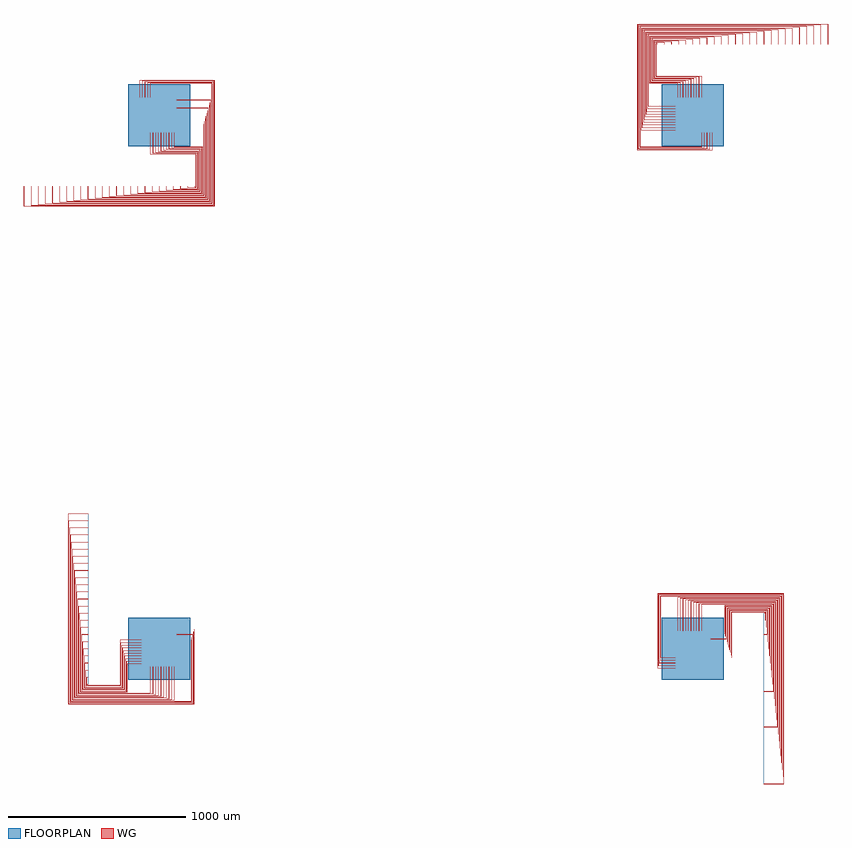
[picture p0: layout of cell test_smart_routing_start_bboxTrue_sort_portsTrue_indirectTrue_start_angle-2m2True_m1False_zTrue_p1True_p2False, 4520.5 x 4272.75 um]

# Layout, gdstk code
import gdstk
lib = gdstk.Library(unit=1e-6, precision=1e-09)
def R(c, l, rs):  # rectangles x0, y0, x1, y1
    for r in rs: c.add(gdstk.rectangle(r[:2], r[2:], *l))
def P(c, l, *ps):  # polygons
    for p in ps: c.add(gdstk.Polygon(p, *l))
WG = (1, 0)
FLOORPLAN = (10, 0)

test_smart_routing_start = lib.new_cell('test_smart_routing_start_bboxTrue_sort_portsTrue_indirectTrue_start_angle-2m2True_m1False_zTrue_p1True_p2False')
P(test_smart_routing_start, WG, [(3050.05,3100),(3050.05,3219.8),(2795.55,3219.8),(2795.55,3404.2),(2799.95,3404.2),(2799.95,3400),(2799.75,3400),(2799.75,3404),(2795.75,3404),(2795.75,3220),(3050.25,3220),(3050.25,3100)],
  [(3049.75,3100),(3049.75,3219.5),(2795.25,3219.5),(2795.25,3404.5),(2800.25,3404.5),(2800.25,3400),(2800.05,3400),(2800.05,3404.3),(2795.45,3404.3),(2795.45,3219.7),(3049.95,3219.7),(3049.95,3100)],
  [(3035.05,3100),(3035.05,3215.3),(2791.05,3215.3),(2791.05,3408.7),(2839.95,3408.7),(2839.95,3400),(2839.75,3400),(2839.75,3408.5),(2791.25,3408.5),(2791.25,3215.5),(3035.25,3215.5),(3035.25,3100)],
  [(3034.75,3100),(3034.75,3215),(2790.75,3215),(2790.75,3409),(2840.25,3409),(2840.25,3400),(2840.05,3400),(2840.05,3408.8),(2790.95,3408.8),(2790.95,3215.2),(3034.95,3215.2),(3034.95,3100)],
  [(3020.05,3100),(3020.05,3210.8),(2786.55,3210.8),(2786.55,3413.2),(2879.95,3413.2),(2879.95,3400),(2879.75,3400),(2879.75,3413),(2786.75,3413),(2786.75,3211),(3020.25,3211),(3020.25,3100)],
  [(3019.75,3100),(3019.75,3210.5),(2786.25,3210.5),(2786.25,3413.5),(2880.25,3413.5),(2880.25,3400),(2880.05,3400),(2880.05,3413.3),(2786.45,3413.3),(2786.45,3210.7),(3019.95,3210.7),(3019.95,3100)],
  [(3005.05,3100),(3005.05,3206.3),(2782.05,3206.3),(2782.05,3417.7),(2919.95,3417.7),(2919.95,3400),(2919.75,3400),(2919.75,3417.5),(2782.25,3417.5),(2782.25,3206.5),(3005.25,3206.5),(3005.25,3100)],
  [(3004.75,3100),(3004.75,3206),(2781.75,3206),(2781.75,3418),(2920.25,3418),(2920.25,3400),(2920.05,3400),(2920.05,3417.8),(2781.95,3417.8),(2781.95,3206.2),(3004.95,3206.2),(3004.95,3100)],
  [(2990.05,3100),(2990.05,3201.8),(2777.55,3201.8),(2777.55,3422.2),(2959.95,3422.2),(2959.95,3400),(2959.75,3400),(2959.75,3422),(2777.75,3422),(2777.75,3202),(2990.25,3202),(2990.25,3100)],
  [(2989.75,3100),(2989.75,3201.5),(2777.25,3201.5),(2777.25,3422.5),(2960.25,3422.5),(2960.25,3400),(2960.05,3400),(2960.05,3422.3),(2777.45,3422.3),(2777.45,3201.7),(2989.95,3201.7),(2989.95,3100)],
  [(2975.05,3100),(2975.05,3197.3),(2773.05,3197.3),(2773.05,3426.7),(2999.95,3426.7),(2999.95,3400),(2999.75,3400),(2999.75,3426.5),(2773.25,3426.5),(2773.25,3197.5),(2975.25,3197.5),(2975.25,3100)],
  [(2974.75,3100),(2974.75,3197),(2772.75,3197),(2772.75,3427),(3000.25,3427),(3000.25,3400),(3000.05,3400),(3000.05,3426.8),(2772.95,3426.8),(2772.95,3197.2),(2974.95,3197.2),(2974.95,3100)],
  [(2960.05,3100),(2960.05,3192.8),(2768.55,3192.8),(2768.55,3431.2),(3039.95,3431.2),(3039.95,3400),(3039.75,3400),(3039.75,3431),(2768.75,3431),(2768.75,3193),(2960.25,3193),(2960.25,3100)],
  [(2959.75,3100),(2959.75,3192.5),(2768.25,3192.5),(2768.25,3431.5),(3040.25,3431.5),(3040.25,3400),(3040.05,3400),(3040.05,3431.3),(2768.45,3431.3),(2768.45,3192.7),(2959.95,3192.7),(2959.95,3100)],
  [(2945.05,3100),(2945.05,3188.3),(2764.05,3188.3),(2764.05,3435.7),(3079.95,3435.7),(3079.95,3400),(3079.75,3400),(3079.75,3435.5),(2764.25,3435.5),(2764.25,3188.5),(2945.25,3188.5),(2945.25,3100)],
  [(2944.75,3100),(2944.75,3188),(2763.75,3188),(2763.75,3436),(3080.25,3436),(3080.25,3400),(3080.05,3400),(3080.05,3435.8),(2763.95,3435.8),(2763.95,3188.2),(2944.95,3188.2),(2944.95,3100)],
  [(2930.05,3100),(2930.05,3183.8),(2759.55,3183.8),(2759.55,3440.2),(3119.95,3440.2),(3119.95,3400),(3119.75,3400),(3119.75,3440),(2759.75,3440),(2759.75,3184),(2930.25,3184),(2930.25,3100)],
  [(2929.75,3100),(2929.75,3183.5),(2759.25,3183.5),(2759.25,3440.5),(3120.25,3440.5),(3120.25,3400),(3120.05,3400),(3120.05,3440.3),(2759.45,3440.3),(2759.45,3183.7),(2929.95,3183.7),(2929.95,3100)],
  [(2915.05,3100),(2915.05,3179.3),(2755.05,3179.3),(2755.05,3444.7),(3159.95,3444.7),(3159.95,3400),(3159.75,3400),(3159.75,3444.5),(2755.25,3444.5),(2755.25,3179.5),(2915.25,3179.5),(2915.25,3100)],
  [(2914.75,3100),(2914.75,3179),(2754.75,3179),(2754.75,3445),(3160.25,3445),(3160.25,3400),(3160.05,3400),(3160.05,3444.8),(2754.95,3444.8),(2754.95,3179.2),(2914.95,3179.2),(2914.95,3100)],
  [(2750.55,3050.05),(2750.55,3449.2),(3199.95,3449.2),(3199.95,3400),(3199.75,3400),(3199.75,3449),(2750.75,3449),(2750.75,3050.25),(2900,3050.25),(2900,3050.05)],
  [(2750.25,3049.75),(2750.25,3449.5),(3200.25,3449.5),(3200.25,3400),(3200.05,3400),(3200.05,3449.3),(2750.45,3449.3),(2750.45,3049.95),(2900,3049.95),(2900,3049.75)],
  [(2746.05,3035.05),(2746.05,3453.7),(3239.95,3453.7),(3239.95,3400),(3239.75,3400),(3239.75,3453.5),(2746.25,3453.5),(2746.25,3035.25),(2900,3035.25),(2900,3035.05)],
  [(2745.75,3034.75),(2745.75,3454),(3240.25,3454),(3240.25,3400),(3240.05,3400),(3240.05,3453.8),(2745.95,3453.8),(2745.95,3034.95),(2900,3034.95),(2900,3034.75)],
  [(2741.55,3020.05),(2741.55,3458.2),(3279.95,3458.2),(3279.95,3400),(3279.75,3400),(3279.75,3458),(2741.75,3458),(2741.75,3020.25),(2900,3020.25),(2900,3020.05)],
  [(2741.25,3019.75),(2741.25,3458.5),(3280.25,3458.5),(3280.25,3400),(3280.05,3400),(3280.05,3458.3),(2741.45,3458.3),(2741.45,3019.95),(2900,3019.95),(2900,3019.75)],
  [(2737.05,3005.05),(2737.05,3462.7),(3319.95,3462.7),(3319.95,3400),(3319.75,3400),(3319.75,3462.5),(2737.25,3462.5),(2737.25,3005.25),(2900,3005.25),(2900,3005.05)],
  [(2736.75,3004.75),(2736.75,3463),(3320.25,3463),(3320.25,3400),(3320.05,3400),(3320.05,3462.8),(2736.95,3462.8),(2736.95,3004.95),(2900,3004.95),(2900,3004.75)],
  [(2732.55,2990.05),(2732.55,3467.2),(3359.95,3467.2),(3359.95,3400),(3359.75,3400),(3359.75,3467),(2732.75,3467),(2732.75,2990.25),(2900,2990.25),(2900,2990.05)],
  [(2732.25,2989.75),(2732.25,3467.5),(3360.25,3467.5),(3360.25,3400),(3360.05,3400),(3360.05,3467.3),(2732.45,3467.3),(2732.45,2989.95),(2900,2989.95),(2900,2989.75)],
  [(2728.05,2975.05),(2728.05,3471.7),(3399.95,3471.7),(3399.95,3400),(3399.75,3400),(3399.75,3471.5),(2728.25,3471.5),(2728.25,2975.25),(2900,2975.25),(2900,2975.05)],
  [(2727.75,2974.75),(2727.75,3472),(3400.25,3472),(3400.25,3400),(3400.05,3400),(3400.05,3471.8),(2727.95,3471.8),(2727.95,2974.95),(2900,2974.95),(2900,2974.75)],
  [(2723.55,2960.05),(2723.55,3476.2),(3439.95,3476.2),(3439.95,3400),(3439.75,3400),(3439.75,3476),(2723.75,3476),(2723.75,2960.25),(2900,2960.25),(2900,2960.05)],
  [(2723.25,2959.75),(2723.25,3476.5),(3440.25,3476.5),(3440.25,3400),(3440.05,3400),(3440.05,3476.3),(2723.45,3476.3),(2723.45,2959.95),(2900,2959.95),(2900,2959.75)],
  [(2719.05,2945.05),(2719.05,3480.7),(3479.95,3480.7),(3479.95,3400),(3479.75,3400),(3479.75,3480.5),(2719.25,3480.5),(2719.25,2945.25),(2900,2945.25),(2900,2945.05)],
  [(2718.75,2944.75),(2718.75,3481),(3480.25,3481),(3480.25,3400),(3480.05,3400),(3480.05,3480.8),(2718.95,3480.8),(2718.95,2944.95),(2900,2944.95),(2900,2944.75)],
  [(2714.55,2930.05),(2714.55,3485.2),(3519.95,3485.2),(3519.95,3400),(3519.75,3400),(3519.75,3485),(2714.75,3485),(2714.75,2930.25),(2900,2930.25),(2900,2930.05)],
  [(2714.25,2929.75),(2714.25,3485.5),(3520.25,3485.5),(3520.25,3400),(3520.05,3400),(3520.05,3485.3),(2714.45,3485.3),(2714.45,2929.95),(2900,2929.95),(2900,2929.75)],
  [(2710.05,2915.05),(2710.05,3489.7),(3559.95,3489.7),(3559.95,3400),(3559.75,3400),(3559.75,3489.5),(2710.25,3489.5),(2710.25,2915.25),(2900,2915.25),(2900,2915.05)],
  [(2709.75,2914.75),(2709.75,3490),(3560.25,3490),(3560.25,3400),(3560.05,3400),(3560.05,3489.8),(2709.95,3489.8),(2709.95,2914.95),(2900,2914.95),(2900,2914.75)],
  [(2705.55,2820.8),(2705.55,3494.2),(3599.95,3494.2),(3599.95,3400),(3599.75,3400),(3599.75,3494),(2705.75,3494),(2705.75,2821),(3049.75,2821),(3049.75,2900),(3049.95,2900),(3049.95,2820.8)],
  [(2705.25,2820.5),(2705.25,3494.5),(3600.25,3494.5),(3600.25,3400),(3600.05,3400),(3600.05,3494.3),(2705.45,3494.3),(2705.45,2820.7),(3050.05,2820.7),(3050.05,2900),(3050.25,2900),(3050.25,2820.5)],
  [(2701.05,2816.3),(2701.05,3498.7),(3639.95,3498.7),(3639.95,3400),(3639.75,3400),(3639.75,3498.5),(2701.25,3498.5),(2701.25,2816.5),(3064.75,2816.5),(3064.75,2900),(3064.95,2900),(3064.95,2816.3)],
  [(2700.75,2816),(2700.75,3499),(3640.25,3499),(3640.25,3400),(3640.05,3400),(3640.05,3498.8),(2700.95,3498.8),(2700.95,2816.2),(3065.05,2816.2),(3065.05,2900),(3065.25,2900),(3065.25,2816)],
  [(2696.55,2811.8),(2696.55,3503.2),(3679.95,3503.2),(3679.95,3400),(3679.75,3400),(3679.75,3503),(2696.75,3503),(2696.75,2812),(3079.75,2812),(3079.75,2900),(3079.95,2900),(3079.95,2811.8)],
  [(2696.25,2811.5),(2696.25,3503.5),(3680.25,3503.5),(3680.25,3400),(3680.05,3400),(3680.05,3503.3),(2696.45,3503.3),(2696.45,2811.7),(3080.05,2811.7),(3080.05,2900),(3080.25,2900),(3080.25,2811.5)],
  [(2692.05,2807.3),(2692.05,3507.7),(3719.95,3507.7),(3719.95,3400),(3719.75,3400),(3719.75,3507.5),(2692.25,3507.5),(2692.25,2807.5),(3094.75,2807.5),(3094.75,2900),(3094.95,2900),(3094.95,2807.3)],
  [(2691.75,2807),(2691.75,3508),(3720.25,3508),(3720.25,3400),(3720.05,3400),(3720.05,3507.8),(2691.95,3507.8),(2691.95,2807.2),(3095.05,2807.2),(3095.05,2900),(3095.25,2900),(3095.25,2807)],
  [(2687.55,2802.8),(2687.55,3512.2),(3759.95,3512.2),(3759.95,3400),(3759.75,3400),(3759.75,3512),(2687.75,3512),(2687.75,2803),(3109.75,2803),(3109.75,2900),(3109.95,2900),(3109.95,2802.8)],
  [(2687.25,2802.5),(2687.25,3512.5),(3760.25,3512.5),(3760.25,3400),(3760.05,3400),(3760.05,3512.3),(2687.45,3512.3),(2687.45,2802.7),(3110.05,2802.7),(3110.05,2900),(3110.25,2900),(3110.25,2802.5)],
  [(200.05,2595.8),(200.05,2600),(200.25,2600),(200.25,2596),(204.25,2596),(204.25,2780),(-50.25,2780),(-50.25,2900),(-50.05,2900),(-50.05,2780.2),(204.45,2780.2),(204.45,2595.8)],
  [(199.75,2595.5),(199.75,2600),(199.95,2600),(199.95,2595.7),(204.55,2595.7),(204.55,2780.3),(-49.95,2780.3),(-49.95,2900),(-49.75,2900),(-49.75,2780.5),(204.75,2780.5),(204.75,2595.5)],
  [(160.05,2591.3),(160.05,2600),(160.25,2600),(160.25,2591.5),(208.75,2591.5),(208.75,2784.5),(-35.25,2784.5),(-35.25,2900),(-35.05,2900),(-35.05,2784.7),(208.95,2784.7),(208.95,2591.3)],
  [(159.75,2591),(159.75,2600),(159.95,2600),(159.95,2591.2),(209.05,2591.2),(209.05,2784.8),(-34.95,2784.8),(-34.95,2900),(-34.75,2900),(-34.75,2785),(209.25,2785),(209.25,2591)],
  [(120.05,2586.8),(120.05,2600),(120.25,2600),(120.25,2587),(213.25,2587),(213.25,2789),(-20.25,2789),(-20.25,2900),(-20.05,2900),(-20.05,2789.2),(213.45,2789.2),(213.45,2586.8)],
  [(119.75,2586.5),(119.75,2600),(119.95,2600),(119.95,2586.7),(213.55,2586.7),(213.55,2789.3),(-19.95,2789.3),(-19.95,2900),(-19.75,2900),(-19.75,2789.5),(213.75,2789.5),(213.75,2586.5)],
  [(80.05,2582.3),(80.05,2600),(80.25,2600),(80.25,2582.5),(217.75,2582.5),(217.75,2793.5),(-5.25,2793.5),(-5.25,2900),(-5.05,2900),(-5.05,2793.7),(217.95,2793.7),(217.95,2582.3)],
  [(79.75,2582),(79.75,2600),(79.95,2600),(79.95,2582.2),(218.05,2582.2),(218.05,2793.8),(-4.95,2793.8),(-4.95,2900),(-4.75,2900),(-4.75,2794),(218.25,2794),(218.25,2582)],
  [(40.05,2577.8),(40.05,2600),(40.25,2600),(40.25,2578),(222.25,2578),(222.25,2798),(9.75,2798),(9.75,2900),(9.95,2900),(9.95,2798.2),(222.45,2798.2),(222.45,2577.8)],
  [(39.75,2577.5),(39.75,2600),(39.95,2600),(39.95,2577.7),(222.55,2577.7),(222.55,2798.3),(10.05,2798.3),(10.05,2900),(10.25,2900),(10.25,2798.5),(222.75,2798.5),(222.75,2577.5)],
  [(0.05,2573.3),(0.05,2600),(0.25,2600),(0.25,2573.5),(226.75,2573.5),(226.75,2802.5),(24.75,2802.5),(24.75,2900),(24.95,2900),(24.95,2802.7),(226.95,2802.7),(226.95,2573.3)],
  [(-0.25,2573),(-0.25,2600),(-0.05,2600),(-0.05,2573.2),(227.05,2573.2),(227.05,2802.8),(25.05,2802.8),(25.05,2900),(25.25,2900),(25.25,2803),(227.25,2803),(227.25,2573)],
  [(-39.95,2568.8),(-39.95,2600),(-39.75,2600),(-39.75,2569),(231.25,2569),(231.25,2807),(39.75,2807),(39.75,2900),(39.95,2900),(39.95,2807.2),(231.45,2807.2),(231.45,2568.8)],
  [(-40.25,2568.5),(-40.25,2600),(-40.05,2600),(-40.05,2568.7),(231.55,2568.7),(231.55,2807.3),(40.05,2807.3),(40.05,2900),(40.25,2900),(40.25,2807.5),(231.75,2807.5),(231.75,2568.5)],
  [(-79.95,2564.3),(-79.95,2600),(-79.75,2600),(-79.75,2564.5),(235.75,2564.5),(235.75,2811.5),(54.75,2811.5),(54.75,2900),(54.95,2900),(54.95,2811.7),(235.95,2811.7),(235.95,2564.3)],
  [(-80.25,2564),(-80.25,2600),(-80.05,2600),(-80.05,2564.2),(236.05,2564.2),(236.05,2811.8),(55.05,2811.8),(55.05,2900),(55.25,2900),(55.25,2812),(236.25,2812),(236.25,2564)],
  [(-119.95,2559.8),(-119.95,2600),(-119.75,2600),(-119.75,2560),(240.25,2560),(240.25,2816),(69.75,2816),(69.75,2900),(69.95,2900),(69.95,2816.2),(240.45,2816.2),(240.45,2559.8)],
  [(-120.25,2559.5),(-120.25,2600),(-120.05,2600),(-120.05,2559.7),(240.55,2559.7),(240.55,2816.3),(70.05,2816.3),(70.05,2900),(70.25,2900),(70.25,2816.5),(240.75,2816.5),(240.75,2559.5)],
  [(-159.95,2555.3),(-159.95,2600),(-159.75,2600),(-159.75,2555.5),(244.75,2555.5),(244.75,2820.5),(84.75,2820.5),(84.75,2900),(84.95,2900),(84.95,2820.7),(244.95,2820.7),(244.95,2555.3)],
  [(-160.25,2555),(-160.25,2600),(-160.05,2600),(-160.05,2555.2),(245.05,2555.2),(245.05,2820.8),(85.05,2820.8),(85.05,2900),(85.25,2900),(85.25,2821),(245.25,2821),(245.25,2555)],
  [(-199.95,2550.8),(-199.95,2600),(-199.75,2600),(-199.75,2551),(249.25,2551),(249.25,2949.75),(100,2949.75),(100,2949.95),(249.45,2949.95),(249.45,2550.8)],
  [(-200.25,2550.5),(-200.25,2600),(-200.05,2600),(-200.05,2550.7),(249.55,2550.7),(249.55,2950.05),(100,2950.05),(100,2950.25),(249.75,2950.25),(249.75,2550.5)],
  [(-239.95,2546.3),(-239.95,2600),(-239.75,2600),(-239.75,2546.5),(253.75,2546.5),(253.75,2964.75),(100,2964.75),(100,2964.95),(253.95,2964.95),(253.95,2546.3)],
  [(-240.25,2546),(-240.25,2600),(-240.05,2600),(-240.05,2546.2),(254.05,2546.2),(254.05,2965.05),(100,2965.05),(100,2965.25),(254.25,2965.25),(254.25,2546)],
  [(-279.95,2541.8),(-279.95,2600),(-279.75,2600),(-279.75,2542),(258.25,2542),(258.25,2979.75),(100,2979.75),(100,2979.95),(258.45,2979.95),(258.45,2541.8)],
  [(-280.25,2541.5),(-280.25,2600),(-280.05,2600),(-280.05,2541.7),(258.55,2541.7),(258.55,2980.05),(100,2980.05),(100,2980.25),(258.75,2980.25),(258.75,2541.5)],
  [(-319.95,2537.3),(-319.95,2600),(-319.75,2600),(-319.75,2537.5),(262.75,2537.5),(262.75,2994.75),(100,2994.75),(100,2994.95),(262.95,2994.95),(262.95,2537.3)],
  [(-320.25,2537),(-320.25,2600),(-320.05,2600),(-320.05,2537.2),(263.05,2537.2),(263.05,2995.05),(100,2995.05),(100,2995.25),(263.25,2995.25),(263.25,2537)],
  [(-359.95,2532.8),(-359.95,2600),(-359.75,2600),(-359.75,2533),(267.25,2533),(267.25,3009.75),(100,3009.75),(100,3009.95),(267.45,3009.95),(267.45,2532.8)],
  [(-360.25,2532.5),(-360.25,2600),(-360.05,2600),(-360.05,2532.7),(267.55,2532.7),(267.55,3010.05),(100,3010.05),(100,3010.25),(267.75,3010.25),(267.75,2532.5)],
  [(-399.95,2528.3),(-399.95,2600),(-399.75,2600),(-399.75,2528.5),(271.75,2528.5),(271.75,3024.75),(100,3024.75),(100,3024.95),(271.95,3024.95),(271.95,2528.3)],
  [(-400.25,2528),(-400.25,2600),(-400.05,2600),(-400.05,2528.2),(272.05,2528.2),(272.05,3025.05),(100,3025.05),(100,3025.25),(272.25,3025.25),(272.25,2528)],
  [(-439.95,2523.8),(-439.95,2600),(-439.75,2600),(-439.75,2524),(276.25,2524),(276.25,3039.75),(100,3039.75),(100,3039.95),(276.45,3039.95),(276.45,2523.8)],
  [(-440.25,2523.5),(-440.25,2600),(-440.05,2600),(-440.05,2523.7),(276.55,2523.7),(276.55,3040.05),(100,3040.05),(100,3040.25),(276.75,3040.25),(276.75,2523.5)],
  [(-479.95,2519.3),(-479.95,2600),(-479.75,2600),(-479.75,2519.5),(280.75,2519.5),(280.75,3054.75),(100,3054.75),(100,3054.95),(280.95,3054.95),(280.95,2519.3)],
  [(-480.25,2519),(-480.25,2600),(-480.05,2600),(-480.05,2519.2),(281.05,2519.2),(281.05,3055.05),(100,3055.05),(100,3055.25),(281.25,3055.25),(281.25,2519)],
  [(-519.95,2514.8),(-519.95,2600),(-519.75,2600),(-519.75,2515),(285.25,2515),(285.25,3069.75),(100,3069.75),(100,3069.95),(285.45,3069.95),(285.45,2514.8)],
  [(-520.25,2514.5),(-520.25,2600),(-520.05,2600),(-520.05,2514.7),(285.55,2514.7),(285.55,3070.05),(100,3070.05),(100,3070.25),(285.75,3070.25),(285.75,2514.5)],
  [(-559.95,2510.3),(-559.95,2600),(-559.75,2600),(-559.75,2510.5),(289.75,2510.5),(289.75,3084.75),(100,3084.75),(100,3084.95),(289.95,3084.95),(289.95,2510.3)],
  [(-560.25,2510),(-560.25,2600),(-560.05,2600),(-560.05,2510.2),(290.05,2510.2),(290.05,3085.05),(100,3085.05),(100,3085.25),(290.25,3085.25),(290.25,2510)],
  [(-599.95,2505.8),(-599.95,2600),(-599.75,2600),(-599.75,2506),(294.25,2506),(294.25,3179),(-49.75,3179),(-49.75,3100),(-49.95,3100),(-49.95,3179.2),(294.45,3179.2),(294.45,2505.8)],
  [(-600.25,2505.5),(-600.25,2600),(-600.05,2600),(-600.05,2505.7),(294.55,2505.7),(294.55,3179.3),(-50.05,3179.3),(-50.05,3100),(-50.25,3100),(-50.25,3179.5),(294.75,3179.5),(294.75,2505.5)],
  [(-639.95,2501.3),(-639.95,2600),(-639.75,2600),(-639.75,2501.5),(298.75,2501.5),(298.75,3183.5),(-64.75,3183.5),(-64.75,3100),(-64.95,3100),(-64.95,3183.7),(298.95,3183.7),(298.95,2501.3)],
  [(-640.25,2501),(-640.25,2600),(-640.05,2600),(-640.05,2501.2),(299.05,2501.2),(299.05,3183.8),(-65.05,3183.8),(-65.05,3100),(-65.25,3100),(-65.25,3184),(299.25,3184),(299.25,2501)],
  [(-679.95,2496.8),(-679.95,2600),(-679.75,2600),(-679.75,2497),(303.25,2497),(303.25,3188),(-79.75,3188),(-79.75,3100),(-79.95,3100),(-79.95,3188.2),(303.45,3188.2),(303.45,2496.8)],
  [(-680.25,2496.5),(-680.25,2600),(-680.05,2600),(-680.05,2496.7),(303.55,2496.7),(303.55,3188.3),(-80.05,3188.3),(-80.05,3100),(-80.25,3100),(-80.25,3188.5),(303.75,3188.5),(303.75,2496.5)],
  [(-719.95,2492.3),(-719.95,2600),(-719.75,2600),(-719.75,2492.5),(307.75,2492.5),(307.75,3192.5),(-94.75,3192.5),(-94.75,3100),(-94.95,3100),(-94.95,3192.7),(307.95,3192.7),(307.95,2492.3)],
  [(-720.25,2492),(-720.25,2600),(-720.05,2600),(-720.05,2492.2),(308.05,2492.2),(308.05,3192.8),(-95.05,3192.8),(-95.05,3100),(-95.25,3100),(-95.25,3193),(308.25,3193),(308.25,2492)],
  [(-759.95,2487.8),(-759.95,2600),(-759.75,2600),(-759.75,2488),(312.25,2488),(312.25,3197),(-109.75,3197),(-109.75,3100),(-109.95,3100),(-109.95,3197.2),(312.45,3197.2),(312.45,2487.8)],
  [(-760.25,2487.5),(-760.25,2600),(-760.05,2600),(-760.05,2487.7),(312.55,2487.7),(312.55,3197.3),(-110.05,3197.3),(-110.05,3100),(-110.25,3100),(-110.25,3197.5),(312.75,3197.5),(312.75,2487.5)],
  [(-404.5,-204.75),(-404.5,-199.75),(-400,-199.75),(-400,-199.95),(-404.3,-199.95),(-404.3,-204.55),(-219.7,-204.55),(-219.7,49.95),(-100,49.95),(-100,49.75),(-219.5,49.75),(-219.5,-204.75)],
  [(-404.2,-204.45),(-404.2,-200.05),(-400,-200.05),(-400,-200.25),(-404,-200.25),(-404,-204.25),(-220,-204.25),(-220,50.25),(-100,50.25),(-100,50.05),(-219.8,50.05),(-219.8,-204.45)],
  [(-409,-209.25),(-409,-159.75),(-400,-159.75),(-400,-159.95),(-408.8,-159.95),(-408.8,-209.05),(-215.2,-209.05),(-215.2,34.95),(-100,34.95),(-100,34.75),(-215,34.75),(-215,-209.25)],
  [(-408.7,-208.95),(-408.7,-160.05),(-400,-160.05),(-400,-160.25),(-408.5,-160.25),(-408.5,-208.75),(-215.5,-208.75),(-215.5,35.25),(-100,35.25),(-100,35.05),(-215.3,35.05),(-215.3,-208.95)],
  [(-413.5,-213.75),(-413.5,-119.75),(-400,-119.75),(-400,-119.95),(-413.3,-119.95),(-413.3,-213.55),(-210.7,-213.55),(-210.7,19.95),(-100,19.95),(-100,19.75),(-210.5,19.75),(-210.5,-213.75)],
  [(-413.2,-213.45),(-413.2,-120.05),(-400,-120.05),(-400,-120.25),(-413,-120.25),(-413,-213.25),(-211,-213.25),(-211,20.25),(-100,20.25),(-100,20.05),(-210.8,20.05),(-210.8,-213.45)],
  [(-418,-218.25),(-418,-79.75),(-400,-79.75),(-400,-79.95),(-417.8,-79.95),(-417.8,-218.05),(-206.2,-218.05),(-206.2,4.95),(-100,4.95),(-100,4.75),(-206,4.75),(-206,-218.25)],
  [(-417.7,-217.95),(-417.7,-80.05),(-400,-80.05),(-400,-80.25),(-417.5,-80.25),(-417.5,-217.75),(-206.5,-217.75),(-206.5,5.25),(-100,5.25),(-100,5.05),(-206.3,5.05),(-206.3,-217.95)],
  [(-422.5,-222.75),(-422.5,-39.75),(-400,-39.75),(-400,-39.95),(-422.3,-39.95),(-422.3,-222.55),(-201.7,-222.55),(-201.7,-10.05),(-100,-10.05),(-100,-10.25),(-201.5,-10.25),(-201.5,-222.75)],
  [(-422.2,-222.45),(-422.2,-40.05),(-400,-40.05),(-400,-40.25),(-422,-40.25),(-422,-222.25),(-202,-222.25),(-202,-9.75),(-100,-9.75),(-100,-9.95),(-201.8,-9.95),(-201.8,-222.45)],
  [(-426.7,-226.95),(-426.7,-0.05),(-400,-0.05),(-400,-0.25),(-426.5,-0.25),(-426.5,-226.75),(-197.5,-226.75),(-197.5,-24.75),(-100,-24.75),(-100,-24.95),(-197.3,-24.95),(-197.3,-226.95)],
  [(-427,-227.25),(-427,0.25),(-400,0.25),(-400,0.05),(-426.8,0.05),(-426.8,-227.05),(-197.2,-227.05),(-197.2,-25.05),(-100,-25.05),(-100,-25.25),(-197,-25.25),(-197,-227.25)],
  [(-431.2,-231.45),(-431.2,39.95),(-400,39.95),(-400,39.75),(-431,39.75),(-431,-231.25),(-193,-231.25),(-193,-39.75),(-100,-39.75),(-100,-39.95),(-192.8,-39.95),(-192.8,-231.45)],
  [(-431.5,-231.75),(-431.5,40.25),(-400,40.25),(-400,40.05),(-431.3,40.05),(-431.3,-231.55),(-192.7,-231.55),(-192.7,-40.05),(-100,-40.05),(-100,-40.25),(-192.5,-40.25),(-192.5,-231.75)],
  [(-435.7,-235.95),(-435.7,79.95),(-400,79.95),(-400,79.75),(-435.5,79.75),(-435.5,-235.75),(-188.5,-235.75),(-188.5,-54.75),(-100,-54.75),(-100,-54.95),(-188.3,-54.95),(-188.3,-235.95)],
  [(-436,-236.25),(-436,80.25),(-400,80.25),(-400,80.05),(-435.8,80.05),(-435.8,-236.05),(-188.2,-236.05),(-188.2,-55.05),(-100,-55.05),(-100,-55.25),(-188,-55.25),(-188,-236.25)],
  [(-440.2,-240.45),(-440.2,119.95),(-400,119.95),(-400,119.75),(-440,119.75),(-440,-240.25),(-184,-240.25),(-184,-69.75),(-100,-69.75),(-100,-69.95),(-183.8,-69.95),(-183.8,-240.45)],
  [(-440.5,-240.75),(-440.5,120.25),(-400,120.25),(-400,120.05),(-440.3,120.05),(-440.3,-240.55),(-183.7,-240.55),(-183.7,-70.05),(-100,-70.05),(-100,-70.25),(-183.5,-70.25),(-183.5,-240.75)],
  [(-444.7,-244.95),(-444.7,159.95),(-400,159.95),(-400,159.75),(-444.5,159.75),(-444.5,-244.75),(-179.5,-244.75),(-179.5,-84.75),(-100,-84.75),(-100,-84.95),(-179.3,-84.95),(-179.3,-244.95)],
  [(-445,-245.25),(-445,160.25),(-400,160.25),(-400,160.05),(-444.8,160.05),(-444.8,-245.05),(-179.2,-245.05),(-179.2,-85.05),(-100,-85.05),(-100,-85.25),(-179,-85.25),(-179,-245.25)],
  [(-449.2,-249.45),(-449.2,199.95),(-400,199.95),(-400,199.75),(-449,199.75),(-449,-249.25),(-50.25,-249.25),(-50.25,-100),(-50.05,-100),(-50.05,-249.45)],
  [(-449.5,-249.75),(-449.5,200.25),(-400,200.25),(-400,200.05),(-449.3,200.05),(-449.3,-249.55),(-49.95,-249.55),(-49.95,-100),(-49.75,-100),(-49.75,-249.75)],
  [(-453.7,-253.95),(-453.7,239.95),(-400,239.95),(-400,239.75),(-453.5,239.75),(-453.5,-253.75),(-35.25,-253.75),(-35.25,-100),(-35.05,-100),(-35.05,-253.95)],
  [(-454,-254.25),(-454,240.25),(-400,240.25),(-400,240.05),(-453.8,240.05),(-453.8,-254.05),(-34.95,-254.05),(-34.95,-100),(-34.75,-100),(-34.75,-254.25)],
  [(-458.2,-258.45),(-458.2,279.95),(-400,279.95),(-400,279.75),(-458,279.75),(-458,-258.25),(-20.25,-258.25),(-20.25,-100),(-20.05,-100),(-20.05,-258.45)],
  [(-458.5,-258.75),(-458.5,280.25),(-400,280.25),(-400,280.05),(-458.3,280.05),(-458.3,-258.55),(-19.95,-258.55),(-19.95,-100),(-19.75,-100),(-19.75,-258.75)],
  [(-462.7,-262.95),(-462.7,319.95),(-400,319.95),(-400,319.75),(-462.5,319.75),(-462.5,-262.75),(-5.25,-262.75),(-5.25,-100),(-5.05,-100),(-5.05,-262.95)],
  [(-463,-263.25),(-463,320.25),(-400,320.25),(-400,320.05),(-462.8,320.05),(-462.8,-263.05),(-4.95,-263.05),(-4.95,-100),(-4.75,-100),(-4.75,-263.25)],
  [(-467.2,-267.45),(-467.2,359.95),(-400,359.95),(-400,359.75),(-467,359.75),(-467,-267.25),(9.75,-267.25),(9.75,-100),(9.95,-100),(9.95,-267.45)],
  [(-467.5,-267.75),(-467.5,360.25),(-400,360.25),(-400,360.05),(-467.3,360.05),(-467.3,-267.55),(10.05,-267.55),(10.05,-100),(10.25,-100),(10.25,-267.75)],
  [(-471.7,-271.95),(-471.7,399.95),(-400,399.95),(-400,399.75),(-471.5,399.75),(-471.5,-271.75),(24.75,-271.75),(24.75,-100),(24.95,-100),(24.95,-271.95)],
  [(-472,-272.25),(-472,400.25),(-400,400.25),(-400,400.05),(-471.8,400.05),(-471.8,-272.05),(25.05,-272.05),(25.05,-100),(25.25,-100),(25.25,-272.25)],
  [(-476.2,-276.45),(-476.2,439.95),(-400,439.95),(-400,439.75),(-476,439.75),(-476,-276.25),(39.75,-276.25),(39.75,-100),(39.95,-100),(39.95,-276.45)],
  [(-476.5,-276.75),(-476.5,440.25),(-400,440.25),(-400,440.05),(-476.3,440.05),(-476.3,-276.55),(40.05,-276.55),(40.05,-100),(40.25,-100),(40.25,-276.75)],
  [(-480.7,-280.95),(-480.7,479.95),(-400,479.95),(-400,479.75),(-480.5,479.75),(-480.5,-280.75),(54.75,-280.75),(54.75,-100),(54.95,-100),(54.95,-280.95)],
  [(-481,-281.25),(-481,480.25),(-400,480.25),(-400,480.05),(-480.8,480.05),(-480.8,-281.05),(55.05,-281.05),(55.05,-100),(55.25,-100),(55.25,-281.25)],
  [(-485.2,-285.45),(-485.2,519.95),(-400,519.95),(-400,519.75),(-485,519.75),(-485,-285.25),(69.75,-285.25),(69.75,-100),(69.95,-100),(69.95,-285.45)],
  [(-485.5,-285.75),(-485.5,520.25),(-400,520.25),(-400,520.05),(-485.3,520.05),(-485.3,-285.55),(70.05,-285.55),(70.05,-100),(70.25,-100),(70.25,-285.75)],
  [(-489.7,-289.95),(-489.7,559.95),(-400,559.95),(-400,559.75),(-489.5,559.75),(-489.5,-289.75),(84.75,-289.75),(84.75,-100),(84.95,-100),(84.95,-289.95)],
  [(-490,-290.25),(-490,560.25),(-400,560.25),(-400,560.05),(-489.8,560.05),(-489.8,-290.05),(85.05,-290.05),(85.05,-100),(85.25,-100),(85.25,-290.25)],
  [(-494.2,-294.45),(-494.2,599.95),(-400,599.95),(-400,599.75),(-494,599.75),(-494,-294.25),(179,-294.25),(179,49.75),(100,49.75),(100,49.95),(179.2,49.95),(179.2,-294.45)],
  [(-494.5,-294.75),(-494.5,600.25),(-400,600.25),(-400,600.05),(-494.3,600.05),(-494.3,-294.55),(179.3,-294.55),(179.3,50.05),(100,50.05),(100,50.25),(179.5,50.25),(179.5,-294.75)],
  [(-498.7,-298.95),(-498.7,639.95),(-400,639.95),(-400,639.75),(-498.5,639.75),(-498.5,-298.75),(183.5,-298.75),(183.5,64.75),(100,64.75),(100,64.95),(183.7,64.95),(183.7,-298.95)],
  [(-499,-299.25),(-499,640.25),(-400,640.25),(-400,640.05),(-498.8,640.05),(-498.8,-299.05),(183.8,-299.05),(183.8,65.05),(100,65.05),(100,65.25),(184,65.25),(184,-299.25)],
  [(-503.2,-303.45),(-503.2,679.95),(-400,679.95),(-400,679.75),(-503,679.75),(-503,-303.25),(188,-303.25),(188,79.75),(100,79.75),(100,79.95),(188.2,79.95),(188.2,-303.45)],
  [(-503.5,-303.75),(-503.5,680.25),(-400,680.25),(-400,680.05),(-503.3,680.05),(-503.3,-303.55),(188.3,-303.55),(188.3,80.05),(100,80.05),(100,80.25),(188.5,80.25),(188.5,-303.75)],
  [(-507.7,-307.95),(-507.7,719.95),(-400,719.95),(-400,719.75),(-507.5,719.75),(-507.5,-307.75),(192.5,-307.75),(192.5,94.75),(100,94.75),(100,94.95),(192.7,94.95),(192.7,-307.95)],
  [(-508,-308.25),(-508,720.25),(-400,720.25),(-400,720.05),(-507.8,720.05),(-507.8,-308.05),(192.8,-308.05),(192.8,95.05),(100,95.05),(100,95.25),(193,95.25),(193,-308.25)],
  [(-512.2,-312.45),(-512.2,759.95),(-400,759.95),(-400,759.75),(-512,759.75),(-512,-312.25),(197,-312.25),(197,109.75),(100,109.75),(100,109.95),(197.2,109.95),(197.2,-312.45)],
  [(-512.5,-312.75),(-512.5,760.25),(-400,760.25),(-400,760.05),(-512.3,760.05),(-512.3,-312.55),(197.3,-312.55),(197.3,110.05),(100,110.05),(100,110.25),(197.5,110.25),(197.5,-312.75)],
  [(3100,-50.25),(3100,-50.05),(3219.8,-50.05),(3219.8,204.45),(3404.2,204.45),(3404.2,200.05),(3400,200.05),(3400,200.25),(3404,200.25),(3404,204.25),(3220,204.25),(3220,-50.25)],
  [(3100,-49.95),(3100,-49.75),(3219.5,-49.75),(3219.5,204.75),(3404.5,204.75),(3404.5,199.75),(3400,199.75),(3400,199.95),(3404.3,199.95),(3404.3,204.55),(3219.7,204.55),(3219.7,-49.95)],
  [(3100,-35.25),(3100,-35.05),(3215.3,-35.05),(3215.3,208.95),(3408.7,208.95),(3408.7,160.05),(3400,160.05),(3400,160.25),(3408.5,160.25),(3408.5,208.75),(3215.5,208.75),(3215.5,-35.25)],
  [(3100,-34.95),(3100,-34.75),(3215,-34.75),(3215,209.25),(3409,209.25),(3409,159.75),(3400,159.75),(3400,159.95),(3408.8,159.95),(3408.8,209.05),(3215.2,209.05),(3215.2,-34.95)],
  [(3100,-20.25),(3100,-20.05),(3210.8,-20.05),(3210.8,213.45),(3413.2,213.45),(3413.2,120.05),(3400,120.05),(3400,120.25),(3413,120.25),(3413,213.25),(3211,213.25),(3211,-20.25)],
  [(3100,-19.95),(3100,-19.75),(3210.5,-19.75),(3210.5,213.75),(3413.5,213.75),(3413.5,119.75),(3400,119.75),(3400,119.95),(3413.3,119.95),(3413.3,213.55),(3210.7,213.55),(3210.7,-19.95)],
  [(3100,-5.25),(3100,-5.05),(3206.3,-5.05),(3206.3,217.95),(3417.7,217.95),(3417.7,80.05),(3400,80.05),(3400,80.25),(3417.5,80.25),(3417.5,217.75),(3206.5,217.75),(3206.5,-5.25)],
  [(3100,-4.95),(3100,-4.75),(3206,-4.75),(3206,218.25),(3418,218.25),(3418,79.75),(3400,79.75),(3400,79.95),(3417.8,79.95),(3417.8,218.05),(3206.2,218.05),(3206.2,-4.95)],
  [(3100,9.75),(3100,9.95),(3201.8,9.95),(3201.8,222.45),(3422.2,222.45),(3422.2,40.05),(3400,40.05),(3400,40.25),(3422,40.25),(3422,222.25),(3202,222.25),(3202,9.75)],
  [(3100,10.05),(3100,10.25),(3201.5,10.25),(3201.5,222.75),(3422.5,222.75),(3422.5,39.75),(3400,39.75),(3400,39.95),(3422.3,39.95),(3422.3,222.55),(3201.7,222.55),(3201.7,10.05)],
  [(3400,0.05),(3400,0.25),(3426.5,0.25),(3426.5,226.75),(3197.5,226.75),(3197.5,24.75),(3100,24.75),(3100,24.95),(3197.3,24.95),(3197.3,226.95),(3426.7,226.95),(3426.7,0.05)],
  [(3400,-0.25),(3400,-0.05),(3426.8,-0.05),(3426.8,227.05),(3197.2,227.05),(3197.2,25.05),(3100,25.05),(3100,25.25),(3197,25.25),(3197,227.25),(3427,227.25),(3427,-0.25)],
  [(3400,-39.95),(3400,-39.75),(3431,-39.75),(3431,231.25),(3193,231.25),(3193,39.75),(3100,39.75),(3100,39.95),(3192.8,39.95),(3192.8,231.45),(3431.2,231.45),(3431.2,-39.95)],
  [(3400,-40.25),(3400,-40.05),(3431.3,-40.05),(3431.3,231.55),(3192.7,231.55),(3192.7,40.05),(3100,40.05),(3100,40.25),(3192.5,40.25),(3192.5,231.75),(3431.5,231.75),(3431.5,-40.25)],
  [(3400,-79.95),(3400,-79.75),(3435.5,-79.75),(3435.5,235.75),(3188.5,235.75),(3188.5,54.75),(3100,54.75),(3100,54.95),(3188.3,54.95),(3188.3,235.95),(3435.7,235.95),(3435.7,-79.95)],
  [(3400,-80.25),(3400,-80.05),(3435.8,-80.05),(3435.8,236.05),(3188.2,236.05),(3188.2,55.05),(3100,55.05),(3100,55.25),(3188,55.25),(3188,236.25),(3436,236.25),(3436,-80.25)],
  [(3400,-119.95),(3400,-119.75),(3440,-119.75),(3440,240.25),(3184,240.25),(3184,69.75),(3100,69.75),(3100,69.95),(3183.8,69.95),(3183.8,240.45),(3440.2,240.45),(3440.2,-119.95)],
  [(3400,-120.25),(3400,-120.05),(3440.3,-120.05),(3440.3,240.55),(3183.7,240.55),(3183.7,70.05),(3100,70.05),(3100,70.25),(3183.5,70.25),(3183.5,240.75),(3440.5,240.75),(3440.5,-120.25)],
  [(3400,-159.95),(3400,-159.75),(3444.5,-159.75),(3444.5,244.75),(3179.5,244.75),(3179.5,84.75),(3100,84.75),(3100,84.95),(3179.3,84.95),(3179.3,244.95),(3444.7,244.95),(3444.7,-159.95)],
  [(3400,-160.25),(3400,-160.05),(3444.8,-160.05),(3444.8,245.05),(3179.2,245.05),(3179.2,85.05),(3100,85.05),(3100,85.25),(3179,85.25),(3179,245.25),(3445,245.25),(3445,-160.25)],
  [(3400,-199.95),(3400,-199.75),(3449,-199.75),(3449,249.25),(3050.25,249.25),(3050.25,100),(3050.05,100),(3050.05,249.45),(3449.2,249.45),(3449.2,-199.95)],
  [(3400,-200.25),(3400,-200.05),(3449.3,-200.05),(3449.3,249.55),(3049.95,249.55),(3049.95,100),(3049.75,100),(3049.75,249.75),(3449.5,249.75),(3449.5,-200.25)],
  [(3400,-239.95),(3400,-239.75),(3453.5,-239.75),(3453.5,253.75),(3035.25,253.75),(3035.25,100),(3035.05,100),(3035.05,253.95),(3453.7,253.95),(3453.7,-239.95)],
  [(3400,-240.25),(3400,-240.05),(3453.8,-240.05),(3453.8,254.05),(3034.95,254.05),(3034.95,100),(3034.75,100),(3034.75,254.25),(3454,254.25),(3454,-240.25)],
  [(3400,-279.95),(3400,-279.75),(3458,-279.75),(3458,258.25),(3020.25,258.25),(3020.25,100),(3020.05,100),(3020.05,258.45),(3458.2,258.45),(3458.2,-279.95)],
  [(3400,-280.25),(3400,-280.05),(3458.3,-280.05),(3458.3,258.55),(3019.95,258.55),(3019.95,100),(3019.75,100),(3019.75,258.75),(3458.5,258.75),(3458.5,-280.25)],
  [(3400,-319.95),(3400,-319.75),(3462.5,-319.75),(3462.5,262.75),(3005.25,262.75),(3005.25,100),(3005.05,100),(3005.05,262.95),(3462.7,262.95),(3462.7,-319.95)],
  [(3400,-320.25),(3400,-320.05),(3462.8,-320.05),(3462.8,263.05),(3004.95,263.05),(3004.95,100),(3004.75,100),(3004.75,263.25),(3463,263.25),(3463,-320.25)],
  [(3400,-359.95),(3400,-359.75),(3467,-359.75),(3467,267.25),(2990.25,267.25),(2990.25,100),(2990.05,100),(2990.05,267.45),(3467.2,267.45),(3467.2,-359.95)],
  [(3400,-360.25),(3400,-360.05),(3467.3,-360.05),(3467.3,267.55),(2989.95,267.55),(2989.95,100),(2989.75,100),(2989.75,267.75),(3467.5,267.75),(3467.5,-360.25)],
  [(3400,-399.95),(3400,-399.75),(3471.5,-399.75),(3471.5,271.75),(2975.25,271.75),(2975.25,100),(2975.05,100),(2975.05,271.95),(3471.7,271.95),(3471.7,-399.95)],
  [(3400,-400.25),(3400,-400.05),(3471.8,-400.05),(3471.8,272.05),(2974.95,272.05),(2974.95,100),(2974.75,100),(2974.75,272.25),(3472,272.25),(3472,-400.25)],
  [(3400,-439.95),(3400,-439.75),(3476,-439.75),(3476,276.25),(2960.25,276.25),(2960.25,100),(2960.05,100),(2960.05,276.45),(3476.2,276.45),(3476.2,-439.95)],
  [(3400,-440.25),(3400,-440.05),(3476.3,-440.05),(3476.3,276.55),(2959.95,276.55),(2959.95,100),(2959.75,100),(2959.75,276.75),(3476.5,276.75),(3476.5,-440.25)],
  [(3400,-479.95),(3400,-479.75),(3480.5,-479.75),(3480.5,280.75),(2945.25,280.75),(2945.25,100),(2945.05,100),(2945.05,280.95),(3480.7,280.95),(3480.7,-479.95)],
  [(3400,-480.25),(3400,-480.05),(3480.8,-480.05),(3480.8,281.05),(2944.95,281.05),(2944.95,100),(2944.75,100),(2944.75,281.25),(3481,281.25),(3481,-480.25)],
  [(3400,-519.95),(3400,-519.75),(3485,-519.75),(3485,285.25),(2930.25,285.25),(2930.25,100),(2930.05,100),(2930.05,285.45),(3485.2,285.45),(3485.2,-519.95)],
  [(3400,-520.25),(3400,-520.05),(3485.3,-520.05),(3485.3,285.55),(2929.95,285.55),(2929.95,100),(2929.75,100),(2929.75,285.75),(3485.5,285.75),(3485.5,-520.25)],
  [(3400,-559.95),(3400,-559.75),(3489.5,-559.75),(3489.5,289.75),(2915.25,289.75),(2915.25,100),(2915.05,100),(2915.05,289.95),(3489.7,289.95),(3489.7,-559.95)],
  [(3400,-560.25),(3400,-560.05),(3489.8,-560.05),(3489.8,290.05),(2914.95,290.05),(2914.95,100),(2914.75,100),(2914.75,290.25),(3490,290.25),(3490,-560.25)],
  [(3400,-599.95),(3400,-599.75),(3494,-599.75),(3494,294.25),(2821,294.25),(2821,-49.75),(2900,-49.75),(2900,-49.95),(2820.8,-49.95),(2820.8,294.45),(3494.2,294.45),(3494.2,-599.95)],
  [(3400,-600.25),(3400,-600.05),(3494.3,-600.05),(3494.3,294.55),(2820.7,294.55),(2820.7,-50.05),(2900,-50.05),(2900,-50.25),(2820.5,-50.25),(2820.5,294.75),(3494.5,294.75),(3494.5,-600.25)],
  [(3400,-639.95),(3400,-639.75),(3498.5,-639.75),(3498.5,298.75),(2816.5,298.75),(2816.5,-64.75),(2900,-64.75),(2900,-64.95),(2816.3,-64.95),(2816.3,298.95),(3498.7,298.95),(3498.7,-639.95)],
  [(3400,-640.25),(3400,-640.05),(3498.8,-640.05),(3498.8,299.05),(2816.2,299.05),(2816.2,-65.05),(2900,-65.05),(2900,-65.25),(2816,-65.25),(2816,299.25),(3499,299.25),(3499,-640.25)],
  [(3400,-679.95),(3400,-679.75),(3503,-679.75),(3503,303.25),(2812,303.25),(2812,-79.75),(2900,-79.75),(2900,-79.95),(2811.8,-79.95),(2811.8,303.45),(3503.2,303.45),(3503.2,-679.95)],
  [(3400,-680.25),(3400,-680.05),(3503.3,-680.05),(3503.3,303.55),(2811.7,303.55),(2811.7,-80.05),(2900,-80.05),(2900,-80.25),(2811.5,-80.25),(2811.5,303.75),(3503.5,303.75),(3503.5,-680.25)],
  [(3400,-719.95),(3400,-719.75),(3507.5,-719.75),(3507.5,307.75),(2807.5,307.75),(2807.5,-94.75),(2900,-94.75),(2900,-94.95),(2807.3,-94.95),(2807.3,307.95),(3507.7,307.95),(3507.7,-719.95)],
  [(3400,-720.25),(3400,-720.05),(3507.8,-720.05),(3507.8,308.05),(2807.2,308.05),(2807.2,-95.05),(2900,-95.05),(2900,-95.25),(2807,-95.25),(2807,308.25),(3508,308.25),(3508,-720.25)],
  [(3400,-759.95),(3400,-759.75),(3512,-759.75),(3512,312.25),(2803,312.25),(2803,-109.75),(2900,-109.75),(2900,-109.95),(2802.8,-109.95),(2802.8,312.45),(3512.2,312.45),(3512.2,-759.95)],
  [(3400,-760.25),(3400,-760.05),(3512.3,-760.05),(3512.3,312.55),(2802.7,312.55),(2802.7,-110.05),(2900,-110.05),(2900,-110.25),(2802.5,-110.25),(2802.5,312.75),(3512.5,312.75),(3512.5,-760.25)])
R(test_smart_routing_start, FLOORPLAN, [(-175,-175,175,175), (2825,-175,3175,175), (-175,2825,175,3175), (2825,2825,3175,3175)])
P(test_smart_routing_start, FLOORPLAN, [(-400,-200),(-400,760),(-400,760),(-400,-200)],
  [(-760,2600),(-760,2600),(200,2600),(200,2600)],
  [(3400,-760),(3400,200),(3400,200),(3400,-760)],
  [(2800,3400),(2800,3400),(3760,3400),(3760,3400)])

lib.write_gds('test_smart_routing_start_bboxTrue_sort_portsTrue_indirectTrue_start_angle-2m2True_m1False_zTrue_p1True_p2False.gds')
